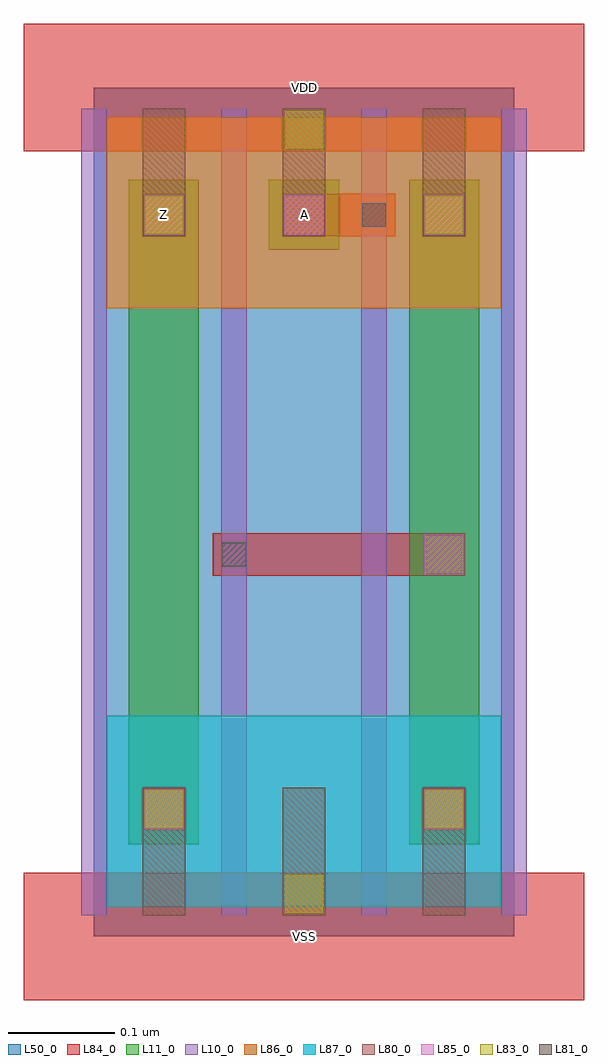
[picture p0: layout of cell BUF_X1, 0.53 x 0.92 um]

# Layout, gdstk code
import gdstk
lib = gdstk.Library(unit=1e-6, precision=1e-09)
def R(c, l, rs):  # rectangles x0, y0, x1, y1
    for r in rs: c.add(gdstk.rectangle(r[:2], r[2:], *l))
def A(c, l, x, y, w, h, nx, ny, dx, dy):  # array of equal rectangles
    R(c, l, [(x+i*dx, y+j*dy, x+i*dx+w, y+j*dy+h) for i in range(nx) for j in range(ny)])
L10_0 = (10, 0)
L11_0 = (11, 0)
L50_0 = (50, 0)
L80_0 = (80, 0)
L81_0 = (81, 0)
L83_0 = (83, 0)
L84_0 = (84, 0)
L85_0 = (85, 0)
L86_0 = (86, 0)
L87_0 = (87, 0)

buf_x1 = lib.new_cell('BUF_X1')
A(buf_x1, L10_0, -0.012, 0.02, 0.024, 0.76, 4, 1, 0.132, 0)
R(buf_x1, L11_0, [(0.033,0.087,0.099,0.713), (0.297,0.087,0.363,0.713), (0.165,0.647,0.231,0.713)])
R(buf_x1, L50_0, [(0,0,0.396,0.8)])
A(buf_x1, L80_0, 0.046, 0.02, 0.04, 0.12, 3, 2, 0.132, 0.64)
R(buf_x1, L81_0, [(0.121,0.349,0.143,0.371), (0.253,0.669,0.275,0.691)])
R(buf_x1, L83_0, [(0.18,0.022,0.216,0.058), (0.048,0.102,0.084,0.138), (0.312,0.102,0.348,0.138), (0.048,0.662,0.084,0.698), (0.312,0.662,0.348,0.698), (0.18,0.742,0.216,0.778)])
R(buf_x1, L84_0, [(-0.066,-0.06,0.462,0.06), (0.046,0.1,0.086,0.14), (0.31,0.1,0.35,0.14), (0.112,0.34,0.35,0.38), (0.046,0.66,0.086,0.7), (0.178,0.66,0.284,0.7), (0.31,0.66,0.35,0.7), (-0.066,0.74,0.462,0.86)])
A(buf_x1, L85_0, 0.047, 0.661, 0.038, 0.038, 3, 1, 0.132, 0)
R(buf_x1, L85_0, [(0.047,0.101,0.085,0.139), (0.311,0.101,0.349,0.139), (0.311,0.341,0.349,0.379)])
R(buf_x1, L86_0, [(0.012,0.592,0.384,0.772)])
R(buf_x1, L87_0, [(0.012,0.028,0.384,0.208)])
buf_x1.add(gdstk.Label('VDD', (0.198,0.8), layer=88, texttype=0))
buf_x1.add(gdstk.Label('VSS', (0.198,0), layer=88, texttype=0))
buf_x1.add(gdstk.Label('Z', (0.066,0.68), layer=31, texttype=0))
buf_x1.add(gdstk.Label('A', (0.198,0.68), layer=31, texttype=0))

lib.write_gds('BUF_X1.gds')
